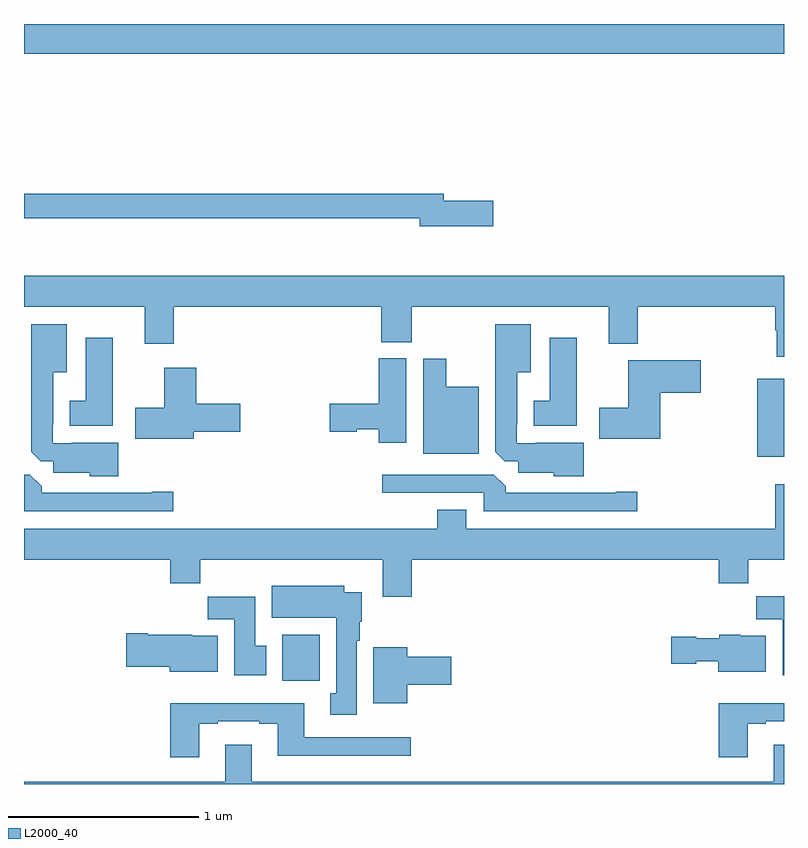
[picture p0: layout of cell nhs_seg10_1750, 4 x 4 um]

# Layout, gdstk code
import gdstk
lib = gdstk.Library(unit=1e-6, precision=1e-09)
def R(c, l, rs):  # rectangles x0, y0, x1, y1
    for r in rs: c.add(gdstk.rectangle(r[:2], r[2:], *l))
def P(c, l, *ps):  # polygons
    for p in ps: c.add(gdstk.Polygon(p, *l))
L2000_40 = (2000, 40)

nhs_seg10_1750 = lib.new_cell('nhs_seg10_1750')
R(nhs_seg10_1750, L2000_40, [(204.359,1269.044,204.556,1269.286), (206.858,1270.223,207,1270.633), (203,1272.344,207,1272.5)])
P(nhs_seg10_1750, L2000_40, [(205.471,1271.57),(205.21,1271.57),(205.21,1271.606),(203,1271.606),(203,1271.478),(205.082,1271.478),(205.082,1271.435),(205.471,1271.435)],
  [(207,1271.176),(203,1271.176),(203,1271.012),(203.636,1271.012),(203.636,1270.818),(203.789,1270.818),(203.789,1271.012),(204.881,1271.012),(204.881,1270.825),(205.041,1270.825),(205.041,1271.012),(206.078,1271.012),(206.078,1270.818),(206.231,1270.818),(206.231,1271.012),(206.953,1271.012),(206.953,1270.889),(206.961,1270.889),(206.961,1270.749),(207,1270.749)],
  [(205.945,1270.297),(205.693,1270.297),(205.693,1270.293),(205.593,1270.293),(205.593,1270.393),(205.597,1270.393),(205.597,1270.667),(205.666,1270.667),(205.666,1270.921),(205.481,1270.921),(205.481,1270.249),(205.53,1270.2),(205.601,1270.2),(205.601,1270.139),(205.788,1270.139),(205.788,1270.121),(205.945,1270.121)],
  [(203.497,1270.297),(203.251,1270.297),(203.251,1270.293),(203.151,1270.293),(203.151,1270.393),(203.155,1270.393),(203.155,1270.667),(203.224,1270.667),(203.224,1270.921),(203.039,1270.921),(203.039,1270.249),(203.088,1270.2),(203.153,1270.2),(203.153,1270.139),(203.346,1270.139),(203.346,1270.121),(203.497,1270.121)],
  [(203.467,1270.849),(203.324,1270.849),(203.324,1270.516),(203.24,1270.516),(203.24,1270.385),(203.467,1270.385)],
  [(205.909,1270.849),(205.766,1270.849),(205.766,1270.516),(205.682,1270.516),(205.682,1270.385),(205.909,1270.385)],
  [(205.012,1270.74),(204.866,1270.74),(204.866,1270.502),(204.609,1270.502),(204.609,1270.355),(204.752,1270.355),(204.752,1270.367),(204.866,1270.367),(204.866,1270.296),(205.012,1270.296)],
  [(205.393,1270.591),(205.222,1270.591),(205.222,1270.738),(205.1,1270.738),(205.1,1270.238),(205.393,1270.238)],
  [(206.348,1270.559),(206.563,1270.559),(206.563,1270.729),(206.18,1270.729),(206.18,1270.479),(206.028,1270.479),(206.028,1270.316),(206.348,1270.316)],
  [(203.893,1270.355),(204.139,1270.355),(204.139,1270.502),(203.906,1270.502),(203.906,1270.69),(203.738,1270.69),(203.738,1270.479),(203.586,1270.479),(203.586,1270.316),(203.893,1270.316)],
  [(203.785,1270.037),(203.672,1270.037),(203.672,1270.032),(203.093,1270.032),(203.093,1270.066),(203.031,1270.128),(203,1270.128),(203,1269.936),(203.785,1269.936)],
  [(206.227,1270.037),(206.114,1270.037),(206.114,1270.032),(205.535,1270.032),(205.535,1270.066),(205.473,1270.128),(204.885,1270.128),(204.885,1270.032),(205.419,1270.032),(205.419,1269.936),(206.227,1269.936)],
  [(205.04,1269.68),(206.657,1269.68),(206.657,1269.556),(206.813,1269.556),(206.813,1269.68),(207,1269.68),(207,1270.078),(206.953,1270.078),(206.953,1269.844),(205.327,1269.844),(205.327,1269.943),(205.175,1269.943),(205.175,1269.844),(203,1269.844),(203,1269.68),(203.771,1269.68),(203.771,1269.556),(203.927,1269.556),(203.927,1269.68),(204.887,1269.68),(204.887,1269.486),(205.04,1269.486)],
  [(204.751,1269.254),(204.766,1269.254),(204.766,1269.354),(204.778,1269.354),(204.778,1269.508),(204.685,1269.508),(204.685,1269.544),(204.305,1269.544),(204.305,1269.374),(204.644,1269.374),(204.644,1268.978),(204.611,1268.978),(204.611,1268.865),(204.751,1268.865)],
  [(207,1269.487),(206.854,1269.487),(206.854,1269.368),(206.993,1269.368),(206.993,1269.072),(207,1269.072)],
  [(204.274,1269.228),(204.217,1269.228),(204.217,1269.486),(203.968,1269.486),(203.968,1269.368),(204.107,1269.368),(204.107,1269.072),(204.274,1269.072)],
  [(204.019,1269.28),(203.886,1269.28),(203.886,1269.286),(203.65,1269.286),(203.65,1269.294),(203.538,1269.294),(203.538,1269.116),(203.768,1269.116),(203.768,1269.092),(204.019,1269.092)],
  [(206.905,1269.28),(206.772,1269.28),(206.772,1269.286),(206.658,1269.286),(206.658,1269.268),(206.538,1269.268),(206.538,1269.276),(206.406,1269.276),(206.406,1269.134),(206.538,1269.134),(206.538,1269.146),(206.654,1269.146),(206.654,1269.092),(206.905,1269.092)],
  [(205.018,1269.023),(205.249,1269.023),(205.249,1269.17),(205.018,1269.17),(205.018,1269.22),(204.839,1269.22),(204.839,1268.924),(205.018,1268.924)],
  [(206.809,1268.817),(206.905,1268.817),(206.905,1268.829),(207,1268.829),(207,1268.926),(206.657,1268.926),(206.657,1268.64),(206.809,1268.64)],
  [(203.923,1268.817),(204.019,1268.817),(204.019,1268.829),(204.239,1268.829),(204.239,1268.817),(204.335,1268.817),(204.335,1268.648),(205.036,1268.648),(205.036,1268.745),(204.475,1268.745),(204.475,1268.926),(203.771,1268.926),(203.771,1268.64),(203.923,1268.64)],
  [(207,1268.707),(206.945,1268.707),(206.945,1268.512),(204.199,1268.512),(204.199,1268.707),(204.059,1268.707),(204.059,1268.512),(203,1268.512),(203,1268.5),(207,1268.5)])

lib.write_gds('nhs_seg10_1750.gds')
